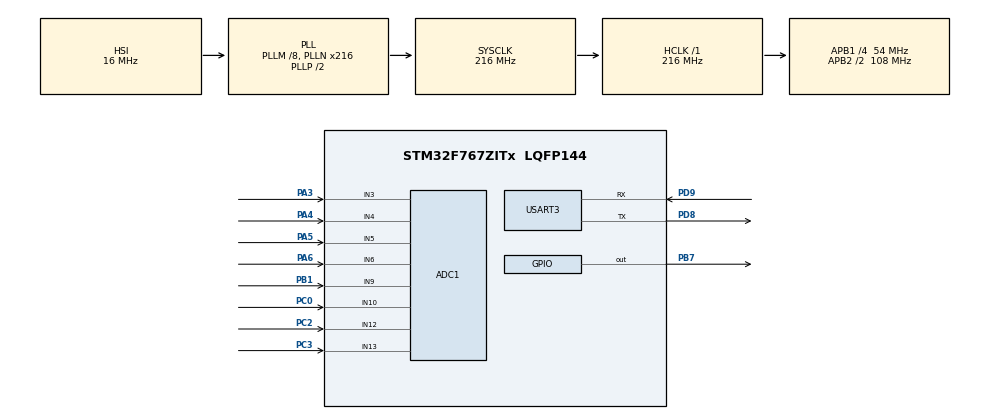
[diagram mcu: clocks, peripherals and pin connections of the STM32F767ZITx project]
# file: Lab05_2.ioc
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ADC1.Channel-0\#ChannelRegularConversion=ADC_CHANNEL_13
ADC1.Channel-1\#ChannelRegularConversion=ADC_CHANNEL_12
ADC1.Channel-10\#ChannelRegularConversion=ADC_CHANNEL_4
ADC1.Channel-11\#ChannelRegularConversion=ADC_CHANNEL_3
ADC1.Channel-2\#ChannelRegularConversion=ADC_CHANNEL_10
ADC1.Channel-3\#ChannelRegularConversion=ADC_CHANNEL_9
ADC1.Channel-4\#ChannelInjectedConversion=ADC_CHANNEL_10
ADC1.Channel-5\#ChannelInjectedConversion=ADC_CHANNEL_10
ADC1.Channel-6\#ChannelInjectedConversion=ADC_CHANNEL_10
ADC1.Channel-7\#ChannelInjectedConversion=ADC_CHANNEL_10
ADC1.Channel-8\#ChannelRegularConversion=ADC_CHANNEL_6
ADC1.Channel-9\#ChannelRegularConversion=ADC_CHANNEL_5
ADC1.ClockPrescaler=ADC_CLOCK_SYNC_PCLK_DIV8
ADC1.ContinuousConvMode=DISABLE
ADC1.DMAContinuousRequests=ENABLE
ADC1.EOCSelection=ADC_EOC_SEQ_CONV
ADC1.InjNumberOfConversion=4
ADC1.InjectedOffset-4\#ChannelInjectedConversion=0
ADC1.InjectedOffset-5\#ChannelInjectedConversion=0
ADC1.InjectedOffset-6\#ChannelInjectedConversion=0
ADC1.InjectedOffset-7\#ChannelInjectedConversion=0
ADC1.InjectedRank-4\#ChannelInjectedConversion=1
ADC1.InjectedRank-5\#ChannelInjectedConversion=2
ADC1.InjectedRank-6\#ChannelInjectedConversion=3
ADC1.InjectedRank-7\#ChannelInjectedConversion=4
ADC1.NbrOfConversion=8
ADC1.NbrOfConversionFlag=1
ADC1.Rank-0\#ChannelRegularConversion=1
ADC1.Rank-1\#ChannelRegularConversion=2
ADC1.Rank-10\#ChannelRegularConversion=7
ADC1.Rank-11\#ChannelRegularConversion=8
ADC1.Rank-2\#ChannelRegularConversion=3
ADC1.Rank-3\#ChannelRegularConversion=4
ADC1.Rank-8\#ChannelRegularConversion=5
ADC1.Rank-9\#ChannelRegularConversion=6
ADC1.SamplingTime-0\#ChannelRegularConversion=ADC_SAMPLETIME_3CYCLES
ADC1.SamplingTime-1\#ChannelRegularConversion=ADC_SAMPLETIME_3CYCLES
ADC1.SamplingTime-10\#ChannelRegularConversion=ADC_SAMPLETIME_3CYCLES
ADC1.SamplingTime-11\#ChannelRegularConversion=ADC_SAMPLETIME_3CYCLES
ADC1.SamplingTime-2\#ChannelRegularConversion=ADC_SAMPLETIME_3CYCLES
ADC1.SamplingTime-3\#ChannelRegularConversion=ADC_SAMPLETIME_3CYCLES
ADC1.SamplingTime-4\#ChannelInjectedConversion=ADC_SAMPLETIME_3CYCLES
ADC1.SamplingTime-5\#ChannelInjectedConversion=ADC_SAMPLETIME_3CYCLES
ADC1.SamplingTime-6\#ChannelInjectedConversion=ADC_SAMPLETIME_3CYCLES
ADC1.SamplingTime-7\#ChannelInjectedConversion=ADC_SAMPLETIME_3CYCLES
ADC1.SamplingTime-8\#ChannelRegularConversion=ADC_SAMPLETIME_3CYCLES
ADC1.SamplingTime-9\#ChannelRegularConversion=ADC_SAMPLETIME_3CYCLES
ADC1.master=1
Dma.ADC1.0.Direction=DMA_PERIPH_TO_MEMORY
Dma.ADC1.0.FIFOMode=DMA_FIFOMODE_DISABLE
Dma.ADC1.0.Instance=DMA2_Stream0
Dma.ADC1.0.MemDataAlignment=DMA_MDATAALIGN_HALFWORD
Dma.ADC1.0.MemInc=DMA_MINC_ENABLE
Dma.ADC1.0.Mode=DMA_CIRCULAR
Dma.ADC1.0.PeriphDataAlignment=DMA_PDATAALIGN_HALFWORD
Dma.ADC1.0.PeriphInc=DMA_PINC_DISABLE
Dma.ADC1.0.Priority=DMA_PRIORITY_LOW
Dma.Request0=ADC1
Mcu.Family=STM32F7
Mcu.Name=STM32F767ZITx
Mcu.Package=LQFP144
NVIC.DMA2_Stream0_IRQn=true\:1\:0\:true\:false\:true\:true\:true\:true
NVIC.PriorityGroup=NVIC_PRIORITYGROUP_2
PA3.Signal=ADCx_IN3
PA4.Signal=ADCx_IN4
PA5.Signal=ADCx_IN5
PA6.Signal=ADCx_IN6
PB1.Signal=ADCx_IN9
PB7.Signal=GPIO_Output
PC0.Signal=ADCx_IN10
PC2.Signal=ADCx_IN12
PC3.Signal=ADCx_IN13
PD8.Mode=Asynchronous
PD8.Signal=USART3_TX
PD9.Mode=Asynchronous
PD9.Signal=USART3_RX
ProjectManager.HeapSize=0x200
ProjectManager.StackSize=0x400
ProjectManager.TargetToolchain=STM32CubeIDE
RCC.AHBFreq_Value=216000000
RCC.APB1CLKDivider=RCC_HCLK_DIV4
RCC.APB1Freq_Value=54000000
RCC.APB1TimFreq_Value=108000000
RCC.APB2CLKDivider=RCC_HCLK_DIV2
RCC.APB2Freq_Value=108000000
RCC.APB2TimFreq_Value=216000000
RCC.CortexFreq_Value=216000000
RCC.HCLKFreq_Value=216000000
RCC.HSE_VALUE=25000000
RCC.HSI_VALUE=16000000
RCC.LSE_VALUE=32768
RCC.PLLM=8
RCC.PLLN=216
RCC.SYSCLKFreq_VALUE=216000000
RCC.SYSCLKSource=RCC_SYSCLKSOURCE_PLLCLK
RCC.USBFreq_Value=216000000
RCC.VCOOutputFreq_Value=432000000
SH.ADCx_IN10.0=ADC1_IN10,IN10
SH.ADCx_IN12.0=ADC1_IN12,IN12
SH.ADCx_IN13.0=ADC1_IN13,IN13
SH.ADCx_IN3.0=ADC1_IN3,IN3
SH.ADCx_IN4.0=ADC1_IN4,IN4
SH.ADCx_IN5.0=ADC1_IN5,IN5
SH.ADCx_IN6.0=ADC1_IN6,IN6
SH.ADCx_IN9.0=ADC1_IN9,IN9
USART3.VirtualMode-Asynchronous=VM_ASYNC
board=custom

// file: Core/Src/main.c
/* USER CODE BEGIN Header */
/**
 ******************************************************************************
 * @file           : main.c
 * @brief          : Main program body
 ******************************************************************************
 * @attention
 *
 * Copyright (c) 2023 STMicroelectronics.
 * All rights reserved.
 *
 * This software is licensed under terms that can be found in the LICENSE file
 * in the root directory of this software component.
 * If no LICENSE file comes with this software, it is provided AS-IS.
 *
 ******************************************************************************
 */
/* USER CODE END Header */
#include "main.h"
#include "adc.h"
#include "dma.h"
#include "usart.h"
#include "gpio.h"

/* USER CODE BEGIN PV */
volatile uint16_t adc_val[8];
int adcChannelCount = sizeof(adc_val) / sizeof(adc_val[0]);

/* USER CODE END PV */

void SystemClock_Config(void);

/* USER CODE BEGIN 0 */
void HAL_ADC_ConvHalfCpltCallback(ADC_HandleTypeDef *hadc) {
	HAL_GPIO_WritePin(GPIOB, GPIO_PIN_7, 1);
	HAL_Delay(100);
}
void HAL_ADC_ConvCpltCallback(ADC_HandleTypeDef *hadc) {
	HAL_GPIO_WritePin(GPIOB, GPIO_PIN_7, 0);
}
/* USER CODE END 0 */

int main(void) {

	/* MCU Configuration--------------------------------------------------------*/

	/* Reset of all peripherals, Initializes the Flash interface and the Systick. */
	HAL_Init();

	/* Configure the system clock */
	SystemClock_Config();

	/* Initialize all configured peripherals */
	MX_GPIO_Init();
	MX_DMA_Init();
	MX_ADC1_Init();
	MX_USART3_UART_Init();
	/* USER CODE BEGIN 2 */
	char txt[1000];
	/* USER CODE END 2 */

	/* Infinite loop */
	while (1) {

		/* USER CODE BEGIN 3 */
		HAL_ADC_Start_DMA(&hadc1, (uint32_t*) adc_val, adcChannelCount);
		while (__HAL_UART_GET_FLAG(&huart3,UART_FLAG_TC) == RESET) {
		}
		sprintf(txt,
				"Resistor_1 : CH1 0x%08X = %.2f\n\r"
				"Resistor_1 : CH2 0x%08X = %.2f\n\r"
				"Resistor_1 : CH3 0x%08X = %.2f\n\r"
				"Resistor_1 : CH4 0x%08X = %.2f\n\r"
				"--------------------------------------------------------------------------------------------\n\r"
				"Resistor_2 : CH1 0x%08X = %.2f\n\r"
				"Resistor_2 : CH2 0x%08X = %.2f\n\r"
				"Resistor_2 : CH3 0x%08X = %.2f\n\r"
				"Resistor_2 : CH4 0x%08X = %.2f\n\n\r"
				"AVAVAVAVAVAVAVAVAVAVAVAVAVAVAVAVAVAVAVAVAVAVAVAVAVAVAVAVAVAVAVAVAVAVAVAVAVAVAVAVAVAVAVAVAVAV\n\n\r",
				adc_val[0],(float) adc_val[0] / 4095 * 3.3,adc_val[1],
				(float) adc_val[1] / 4095 * 3.3,adc_val[2],
				(float) adc_val[2] / 4095 * 3.3,adc_val[3],
				(float) adc_val[3] / 4095 * 3.3,adc_val[4],
				(float) adc_val[4] / 4095 * 3.3,adc_val[5],
				(float) adc_val[5] / 4095 * 3.3,adc_val[6],
				(float) adc_val[6] / 4095 * 3.3,adc_val[7],
				(float) adc_val[7] / 4095 * 3.3);
		HAL_UART_Transmit(&huart3, (uint8_t*) txt, strlen(txt), 1000);
		HAL_Delay(300);
	}
	/* USER CODE END 3 */
}

void SystemClock_Config(void) {
	RCC_OscInitTypeDef RCC_OscInitStruct = { 0 };
	RCC_ClkInitTypeDef RCC_ClkInitStruct = { 0 };

	/** Configure the main internal regulator output voltage
	 */
	__HAL_RCC_PWR_CLK_ENABLE();
	__HAL_PWR_VOLTAGESCALING_CONFIG(PWR_REGULATOR_VOLTAGE_SCALE1);

	/** Initializes the RCC Oscillators according to the specified parameters
	 * in the RCC_OscInitTypeDef structure.
	 */
	RCC_OscInitStruct.OscillatorType = RCC_OSCILLATORTYPE_HSI;
	RCC_OscInitStruct.HSIState = RCC_HSI_ON;
	RCC_OscInitStruct.HSICalibrationValue = RCC_HSICALIBRATION_DEFAULT;
	RCC_OscInitStruct.PLL.PLLState = RCC_PLL_ON;
	RCC_OscInitStruct.PLL.PLLSource = RCC_PLLSOURCE_HSI;
	RCC_OscInitStruct.PLL.PLLM = 8;
	RCC_OscInitStruct.PLL.PLLN = 216;
	RCC_OscInitStruct.PLL.PLLP = RCC_PLLP_DIV2;
	RCC_OscInitStruct.PLL.PLLQ = 2;
	RCC_OscInitStruct.PLL.PLLR = 2;
	if (HAL_RCC_OscConfig(&RCC_OscInitStruct) != HAL_OK) {
		Error_Handler();
	}

	/** Activate the Over-Drive mode
	 */
	if (HAL_PWREx_EnableOverDrive() != HAL_OK) {
		Error_Handler();
	}

	/** Initializes the CPU, AHB and APB buses clocks
	 */
	RCC_ClkInitStruct.ClockType = RCC_CLOCKTYPE_HCLK | RCC_CLOCKTYPE_SYSCLK
			| RCC_CLOCKTYPE_PCLK1 | RCC_CLOCKTYPE_PCLK2;
	RCC_ClkInitStruct.SYSCLKSource = RCC_SYSCLKSOURCE_PLLCLK;
	RCC_ClkInitStruct.AHBCLKDivider = RCC_SYSCLK_DIV1;
	RCC_ClkInitStruct.APB1CLKDivider = RCC_HCLK_DIV4;
	RCC_ClkInitStruct.APB2CLKDivider = RCC_HCLK_DIV2;

	if (HAL_RCC_ClockConfig(&RCC_ClkInitStruct, FLASH_LATENCY_7) != HAL_OK) {
		Error_Handler();
	}
}

void Error_Handler(void) {
	__disable_irq();
	while (1) {
	}
}
